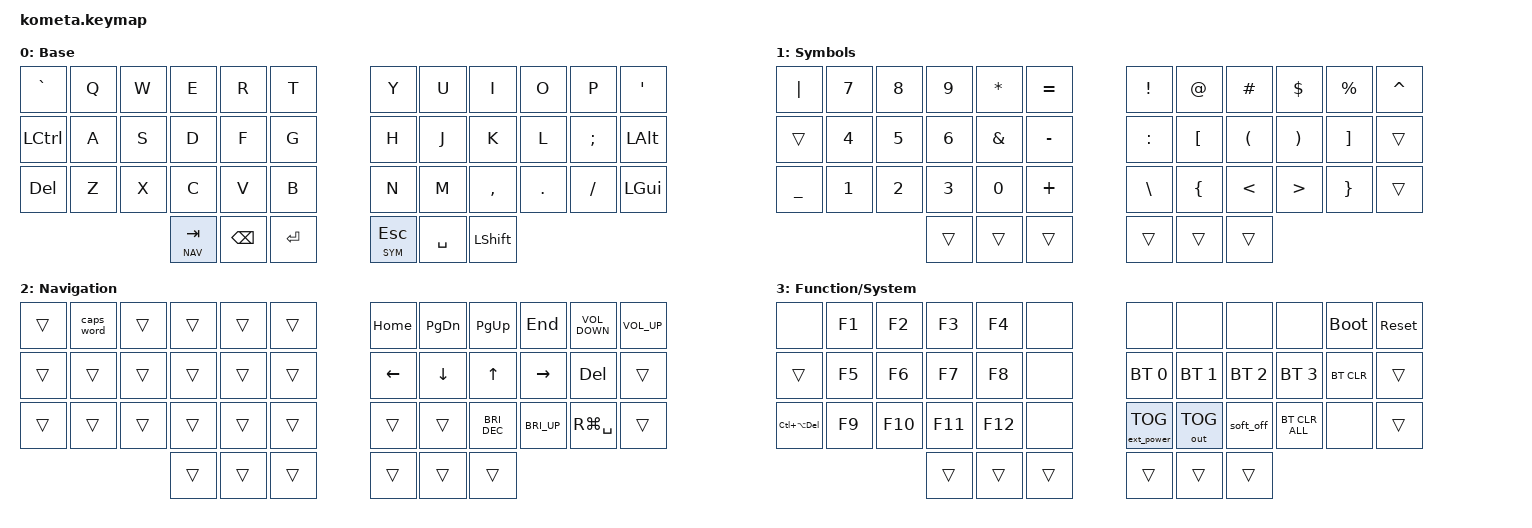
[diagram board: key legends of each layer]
#include <behaviors.dtsi>
#include <dt-bindings/zmk/bt.h>
#include <dt-bindings/zmk/ext_power.h>
#include <dt-bindings/zmk/keys.h>
#include <dt-bindings/zmk/outputs.h>

#define BASE 0
#define SYM  1
#define NAV  2
#define FN   3

/ {
    conditional_layers {
        compatible = "zmk,conditional-layers";
        fn_when_nav_and_sym {
            if-layers = <NAV SYM>;
            then-layer = <FN>;
        };
    };

    keymap {
        compatible = "zmk,keymap";

        base_layer {
            display-name = "Base";
            bindings = <
                &kp GRAVE  &kp Q  &kp W  &kp E  &kp R  &kp T         &kp Y  &kp U  &kp I      &kp O    &kp P     &kp SQT
                &kp LCTRL  &kp A  &kp S  &kp D  &kp F  &kp G         &kp H  &kp J  &kp K      &kp L    &kp SEMI  &kp LALT
                &kp DEL    &kp Z  &kp X  &kp C  &kp V  &kp B         &kp N  &kp M  &kp COMMA  &kp DOT  &kp FSLH  &kp LGUI
                                                    &lt NAV TAB  &kp BSPC   &kp RET  &lt SYM ESC  &kp SPACE  &kp LSHFT
            >;
        };

        /* Numbers on the left; paired brackets on the right.
         * Ctrl/Alt/GUI/Shift keys are transparent so modified symbols work.
         * &kp BSLH provides the backslash displaced from Base.
         */
        sym_layer {
            display-name = "Symbols";
            bindings = <
                &kp PIPE        &kp N7  &kp N8  &kp N9  &kp ASTERISK  &kp EQUAL    &kp EXCLAMATION  &kp AT_SIGN      &kp HASH                &kp DOLLAR              &kp PERCENT        &kp CARET
                &trans          &kp N4  &kp N5  &kp N6  &kp AMPERSAND &kp MINUS    &kp COLON        &kp LEFT_BRACKET &kp LEFT_PARENTHESIS    &kp RIGHT_PARENTHESIS  &kp RIGHT_BRACKET  &trans
                &kp UNDERSCORE  &kp N1  &kp N2  &kp N3  &kp N0        &kp PLUS     &kp BSLH         &kp LEFT_BRACE   &kp LESS_THAN           &kp GREATER_THAN        &kp RIGHT_BRACE    &trans
                                                       &trans  &trans  &trans  &trans  &trans  &trans
            >;
        };

        /* Hold left-outside thumb for Nav; right hand gets H/J/K/L arrows.
         * Real Ctrl + real Shift + Nav + arrows can be held simultaneously.
         * Bottom right language switch uses Win/Super+Space, as before.
         */
        nav_layer {
            display-name = "Navigation";
            bindings = <
                &trans  &caps_word &trans  &trans  &trans  &trans     &kp HOME        &kp PG_DN       &kp PG_UP       &kp END          &kp C_VOLUME_DOWN   &kp C_VOLUME_UP
                &trans  &trans     &trans  &trans  &trans  &trans     &kp LEFT_ARROW  &kp DOWN_ARROW  &kp UP_ARROW    &kp RIGHT_ARROW  &kp DEL             &trans
                &trans  &trans     &trans  &trans  &trans  &trans     &trans          &trans          &kp C_BRIGHTNESS_DEC &kp C_BRI_UP   &kp RG(SPACE)      &trans
                                              &trans  &trans  &trans  &trans  &trans  &trans
            >;
        };

        /* Hold BOTH thumb layer keys to access FN/OS/Bluetooth controls.
         * Reset/bootloader/clear pairing are not reachable from base.
         */
        fn_layer {
            display-name = "Function/System";
            bindings = <
                &none   &kp F1  &kp F2   &kp F3   &kp F4   &none       &none          &none          &none          &none             &bootloader       &sys_reset
                &trans  &kp F5  &kp F6   &kp F7   &kp F8   &none       &bt BT_SEL 0  &bt BT_SEL 1  &bt BT_SEL 2  &bt BT_SEL 3      &bt BT_CLR        &trans
                &kp LC(LA(DEL))  &kp F9  &kp F10  &kp F11  &kp F12  &none       &ext_power EP_TOG  &out OUT_TOG  &soft_off   &bt BT_CLR_ALL    &none             &trans
                                                  &trans  &trans  &trans  &trans  &trans  &trans
            >;
        };
    };
};
